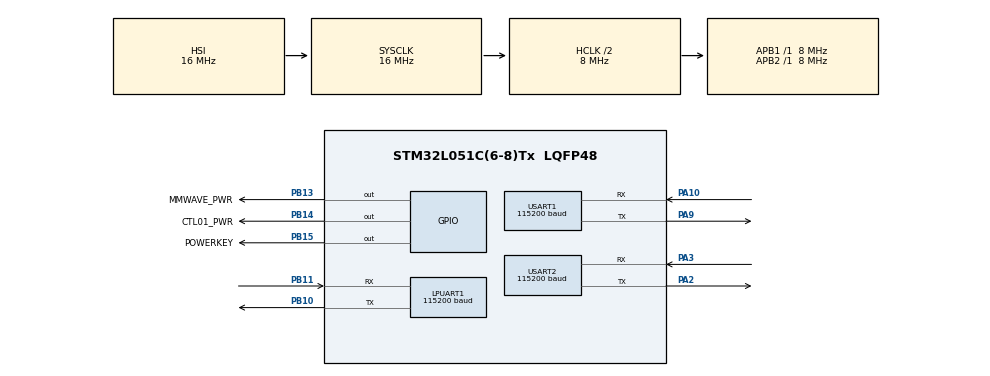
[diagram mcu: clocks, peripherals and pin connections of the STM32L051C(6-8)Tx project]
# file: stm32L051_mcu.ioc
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LPUART1.BaudRate=115200
LPUART1.WordLength=UART_WORDLENGTH_8B
Mcu.Family=STM32L0
Mcu.Name=STM32L051C(6-8)Tx
Mcu.Package=LQFP48
NVIC.LPUART1_IRQn=true\:0\:0\:false\:false\:true\:true\:true\:true
NVIC.USART1_IRQn=true\:0\:0\:false\:false\:true\:true\:true\:true
NVIC.USART2_IRQn=true\:0\:0\:false\:false\:true\:true\:true\:true
PA10.Mode=Asynchronous
PA10.Signal=USART1_RX
PA13.Mode=Serial_Wire
PA13.Signal=SYS_SWDIO
PA14.Mode=Serial_Wire
PA14.Signal=SYS_SWCLK
PA2.Mode=Asynchronous
PA2.Signal=USART2_TX
PA3.Mode=Asynchronous
PA3.Signal=USART2_RX
PA9.Mode=Asynchronous
PA9.Signal=USART1_TX
PB10.Mode=Asynchronous
PB10.Signal=LPUART1_TX
PB11.Mode=Asynchronous
PB11.Signal=LPUART1_RX
PB13.GPIO_Label=MMWAVE_PWR
PB13.Signal=GPIO_Output
PB14.GPIO_Label=CTL01_PWR
PB14.Signal=GPIO_Output
PB15.GPIO_Label=POWERKEY
PB15.Signal=GPIO_Output
ProjectManager.HeapSize=0x200
ProjectManager.StackSize=0x400
ProjectManager.TargetToolchain=MDK-ARM V5.32
RCC.AHBCLKDivider=RCC_SYSCLK_DIV2
RCC.AHBFreq_Value=8000000
RCC.APB1Freq_Value=8000000
RCC.APB1TimFreq_Value=8000000
RCC.APB2Freq_Value=8000000
RCC.APB2TimFreq_Value=8000000
RCC.HCLKFreq_Value=8000000
RCC.HSE_VALUE=12000000
RCC.HSI16_VALUE=16000000
RCC.HSI_VALUE=16000000
RCC.LSE_VALUE=32768
RCC.MSIClockRange=RCC_MSIRANGE_6
RCC.MSI_VALUE=4194000
RCC.PLLDIV=RCC_PLLDIV_3
RCC.PLLMUL=RCC_PLLMUL_4
RCC.SYSCLKFreq_VALUE=16000000
RCC.SYSCLKSource=RCC_SYSCLKSOURCE_HSI
RCC.VCOOutputFreq_Value=64000000
USART1.BaudRate=115200
USART1.VirtualMode-Asynchronous=VM_ASYNC
USART2.BaudRate=115200
USART2.VirtualMode-Asynchronous=VM_ASYNC
VP_LPTIM1_VS_LPTIM_counterModeInternalClock.Mode=Counts__internal_clock_event_00
VP_RTC_VS_RTC_Activate.Mode=RTC_Enabled
VP_RTC_VS_RTC_WakeUp_intern.Mode=WakeUp
board=custom

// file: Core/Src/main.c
/* USER CODE BEGIN Header */
/**
  ******************************************************************************
  * @file           : main.c
  * @brief          : Main program body
  ******************************************************************************
  * @attention
  *
  * Copyright (c) 2024 STMicroelectronics.
  * All rights reserved.
  *
  * This software is licensed under terms that can be found in the LICENSE file
  * in the root directory of this software component.
  * If no LICENSE file comes with this software, it is provided AS-IS.
  *
  ******************************************************************************
  */
/* USER CODE END Header */
#include "main.h"
#include "lptim.h"
#include "usart.h"
#include "rtc.h"
#include "gpio.h"

/* USER CODE BEGIN Includes */
#include "string.h"
/* USER CODE END Includes */

void SystemClock_Config(void);

/* USER CODE BEGIN 0 */
uint8_t rtc_flag=0;

//==================
void pwr_enter_sleep(void)
{

SystemClock_Config();
/* 执行 WFI 指令, 进入睡眠模式21ma */
//HAL_SuspendTick();
//HAL_PWR_EnterSLEEPMode(PWR_MAINREGULATOR_ON, PWR_SLEEPENTRY_WFI);

//停止mode
//	HAL_SuspendTick(); /* 暂停滴答时钟，防止通过滴答时钟中断唤醒9ma */
//	/* 进入停止模式，设置稳压器为低功耗模式，等待中断唤醒 */
//	HAL_PWR_EnterSTOPMode(PWR_LOWPOWERREGULATOR_ON, PWR_STOPENTRY_WFI);
	__HAL_RCC_GPIOA_CLK_ENABLE();
	//__HAL_RCC_PWR_IS_CLK_ENABLED();
//待机mode
	GPIO_InitTypeDef GPIO_InitStruct_A = {0};
	GPIO_InitTypeDef GPIO_InitStruct_B = {0};
  // 配置GPIOA的所有引脚为模拟输入模式
  GPIO_InitStruct_A.Pin = GPIO_PIN_1|GPIO_PIN_2|GPIO_PIN_3|GPIO_PIN_4|GPIO_PIN_5|GPIO_PIN_6|GPIO_PIN_7|GPIO_PIN_9|GPIO_PIN_10|GPIO_PIN_13|GPIO_PIN_14;
  GPIO_InitStruct_A.Mode = GPIO_MODE_INPUT;
  GPIO_InitStruct_A.Pull = GPIO_PULLDOWN;
	GPIO_InitStruct_A.Speed=GPIO_SPEED_FREQ_LOW;
	HAL_GPIO_Init(GPIOA, &GPIO_InitStruct_A);

	GPIO_InitStruct_B.Pin = GPIO_PIN_0|GPIO_PIN_1|GPIO_PIN_8|GPIO_PIN_9;
  GPIO_InitStruct_B.Mode = GPIO_MODE_INPUT;
  GPIO_InitStruct_B.Pull = GPIO_PULLDOWN;
	GPIO_InitStruct_B.Speed=GPIO_SPEED_FREQ_LOW;

  HAL_GPIO_Init(GPIOB, &GPIO_InitStruct_B);
	//HAL_GPIO_WritePin(GPIOA,GPIO_PIN_All,GPIO_PIN_RESET);

	//HAL_GPIO_Init(GPIOB, &GPIO_InitStruct);
	//HAL_GPIO_WritePin(GPIOB,GPIO_PIN_All,GPIO_PIN_RESET);

	//HAL_GPIO_Init(GPIOC, &GPIO_InitStruct);
	//HAL_GPIO_WritePin(GPIOC,GPIO_PIN_All,GPIO_PIN_RESET);

	//HAL_GPIO_Init(GPIOD, &GPIO_InitStruct);
	//HAL_GPIO_WritePin(GPIOD,GPIO_PIN_All,GPIO_PIN_RESET);

	//HAL_GPIO_Init(GPIOE, &GPIO_InitStruct);
	//HAL_GPIO_WritePin(GPIOE,GPIO_PIN_All,GPIO_PIN_RESET);
	//__HAL_TIM_CLEAR_FLAG(&htim4,TIM_FLAG_UPDATE);

	__HAL_RCC_PWR_CLK_ENABLE();  /* 使能电源时钟 */
	HAL_PWR_EnableWakeUpPin(PWR_WAKEUP_PIN1); /* 使能 KEY_UP 引脚的唤醒功能5ma */
	__HAL_PWR_CLEAR_FLAG(PWR_FLAG_WU); /* 需要清此标记，否则将保持唤醒状态*/
	//PWR_Config();
	HAL_PWR_EnterSTANDBYMode();  /* 进入待机模式 */
	__HAL_RCC_GPIOA_CLK_DISABLE();

}

/* USER CODE END 0 */

int main(void)
{

  /* MCU Configuration--------------------------------------------------------*/

  /* Reset of all peripherals, Initializes the Flash interface and the Systick. */
  HAL_Init();

  /* Configure the system clock */
  SystemClock_Config();

  /* Initialize all configured peripherals */
  MX_GPIO_Init();
  MX_LPUART1_UART_Init();
  MX_USART1_UART_Init();
  MX_USART2_UART_Init();
  MX_LPTIM1_Init();
  MX_RTC_Init();
  /* USER CODE BEGIN 2 */
	HAL_UART_Transmit(&hlpuart1,(uint8_t *)"LP_UART1 START!\n",13,0xff);
	HAL_UART_Transmit(&huart1,(uint8_t *)"UART1 START!\n",13,0xff);
	HAL_UART_Transmit(&huart2,(uint8_t *)"UART2 START!\n",13,0xff);

	HAL_UART_Receive_IT(&hlpuart1, (uint8_t *)&lpRxBuffer1, 1);	//使能中断
	HAL_UART_Receive_IT(&huart1, (uint8_t *)&RxBuffer1, 1);	//使能中断
	HAL_UART_Receive_IT(&huart2, (uint8_t *)&RxBuffer2, 1);	//使能中断

	uint8_t t=0;
	pwr_enter_sleep();
  /* USER CODE END 2 */

  /* Infinite loop */
  while (1)
  {

    /* USER CODE BEGIN 3 */
		HAL_Delay(10);
		//当接收的数据长度大于一个字符时，打印输出
		if(lpusart1_rcv_len>=1)
		{
			HAL_UART_Transmit(&huart1,(uint8_t *)lpusart1_rec_buffer,lpusart1_rcv_len,0xff);	//发送接收到的数据
			memset(lpusart1_rec_buffer,0,lpusart1_rcv_len);																		//清除接收的数据
			lpusart1_rcv_len = 0;																														//清空计数
			t+=1;
		}

		if(usart1_rcv_len>=1)
		{
			HAL_UART_Transmit(&hlpuart1,(uint8_t *)usart1_rec_buffer,usart1_rcv_len,0xff);	//发送接收到的数据
			memset(usart1_rec_buffer,0,usart1_rcv_len);																		//清除接收的数据
			usart1_rcv_len = 0;																														//清空计数
		}
		HAL_Delay(10);
		if(usart2_rcv_len>=1)
		{
			HAL_UART_Transmit(&huart1,(uint8_t *)usart2_rec_buffer,usart2_rcv_len,0xff);	//发送接收到的数据
			memset(usart2_rec_buffer,0,usart2_rcv_len);																		//清除接收的数据
			usart2_rcv_len = 0;																														//清空计数
		}
		if(t>3)
		{
			pwr_enter_sleep();
		}

  }
  /* USER CODE END 3 */
}

void SystemClock_Config(void)
{
  RCC_OscInitTypeDef RCC_OscInitStruct = {0};
  RCC_ClkInitTypeDef RCC_ClkInitStruct = {0};
  RCC_PeriphCLKInitTypeDef PeriphClkInit = {0};

  /** Configure the main internal regulator output voltage
  */
  __HAL_PWR_VOLTAGESCALING_CONFIG(PWR_REGULATOR_VOLTAGE_SCALE1);

  /** Initializes the RCC Oscillators according to the specified parameters
  * in the RCC_OscInitTypeDef structure.
  */
  RCC_OscInitStruct.OscillatorType = RCC_OSCILLATORTYPE_HSI|RCC_OSCILLATORTYPE_LSI;
  RCC_OscInitStruct.HSIState = RCC_HSI_ON;
  RCC_OscInitStruct.HSICalibrationValue = RCC_HSICALIBRATION_DEFAULT;
  RCC_OscInitStruct.LSIState = RCC_LSI_ON;
  RCC_OscInitStruct.PLL.PLLState = RCC_PLL_NONE;
  if (HAL_RCC_OscConfig(&RCC_OscInitStruct) != HAL_OK)
  {
    Error_Handler();
  }

  /** Initializes the CPU, AHB and APB buses clocks
  */
  RCC_ClkInitStruct.ClockType = RCC_CLOCKTYPE_HCLK|RCC_CLOCKTYPE_SYSCLK
                              |RCC_CLOCKTYPE_PCLK1|RCC_CLOCKTYPE_PCLK2;
  RCC_ClkInitStruct.SYSCLKSource = RCC_SYSCLKSOURCE_HSI;
  RCC_ClkInitStruct.AHBCLKDivider = RCC_SYSCLK_DIV2;
  RCC_ClkInitStruct.APB1CLKDivider = RCC_HCLK_DIV1;
  RCC_ClkInitStruct.APB2CLKDivider = RCC_HCLK_DIV1;

  if (HAL_RCC_ClockConfig(&RCC_ClkInitStruct, FLASH_LATENCY_0) != HAL_OK)
  {
    Error_Handler();
  }
  PeriphClkInit.PeriphClockSelection = RCC_PERIPHCLK_USART1|RCC_PERIPHCLK_USART2
                              |RCC_PERIPHCLK_LPUART1|RCC_PERIPHCLK_RTC
                              |RCC_PERIPHCLK_LPTIM1;
  PeriphClkInit.Usart1ClockSelection = RCC_USART1CLKSOURCE_PCLK2;
  PeriphClkInit.Usart2ClockSelection = RCC_USART2CLKSOURCE_PCLK1;
  PeriphClkInit.Lpuart1ClockSelection = RCC_LPUART1CLKSOURCE_PCLK1;
  PeriphClkInit.RTCClockSelection = RCC_RTCCLKSOURCE_LSI;
  PeriphClkInit.LptimClockSelection = RCC_LPTIM1CLKSOURCE_PCLK;

  if (HAL_RCCEx_PeriphCLKConfig(&PeriphClkInit) != HAL_OK)
  {
    Error_Handler();
  }
}

/* USER CODE BEGIN 4 */
//重写RTC中断函数，用于定时唤醒休眠中的处理器

void HAL_RTCEx_WakeUpTimerEventCallback(RTC_HandleTypeDef *hrtc)
{
	rtc_flag = 1;
}
/* USER CODE END 4 */

void Error_Handler(void)
{
  __disable_irq();
  while (1)
  {
  }
}
